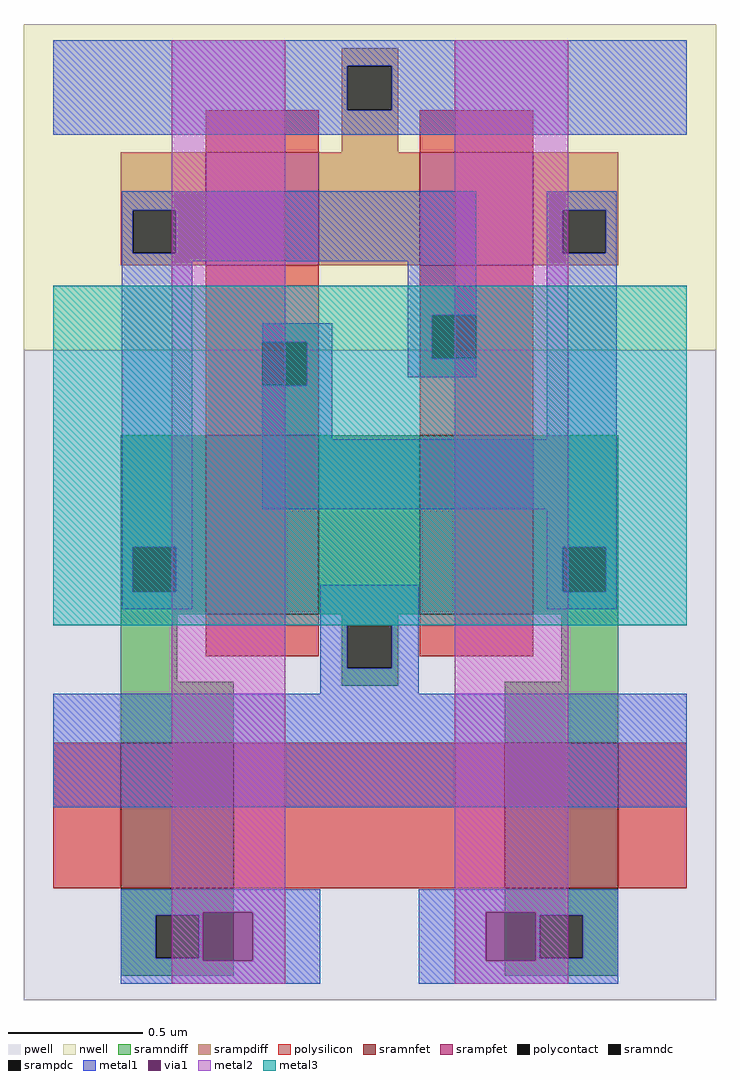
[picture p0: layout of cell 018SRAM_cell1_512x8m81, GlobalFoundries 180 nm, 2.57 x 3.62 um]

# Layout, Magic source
magic
tech gf180mcuD
magscale 1 10
<< nwell >>
rect -47 435 467 677
<< pwell >>
rect -47 -47 467 435
<< sramnfet >>
rect 88 239 172 372
rect 247 239 331 372
rect 25 36 109 144
rect 310 36 394 144
<< srampfet >>
rect 88 498 172 582
rect 247 498 331 582
<< sramndiff >>
rect 25 289 88 372
rect 25 256 34 289
rect 66 256 88 289
rect 25 239 88 256
rect 172 239 247 372
rect 331 289 394 372
rect 331 256 353 289
rect 385 256 394 289
rect 331 239 394 256
rect 25 189 67 239
rect 189 231 231 239
rect 189 199 193 231
rect 226 199 231 231
rect 25 144 109 189
rect 189 186 231 199
rect 352 189 394 239
rect 310 144 394 189
rect 25 16 109 36
rect 25 -16 51 16
rect 83 -16 109 16
rect 25 -29 109 -16
rect 310 16 394 36
rect 310 -16 336 16
rect 368 -16 394 16
rect 310 -29 394 -16
<< srampdiff >>
rect 189 646 231 659
rect 189 613 193 646
rect 226 613 231 646
rect 189 582 231 613
rect 25 539 88 582
rect 25 507 34 539
rect 66 507 88 539
rect 25 498 88 507
rect 172 498 247 582
rect 331 539 394 582
rect 331 507 353 539
rect 385 507 394 539
rect 331 498 394 507
<< sramndc >>
rect 34 256 66 289
rect 353 256 385 289
rect 193 199 226 231
rect 51 -16 83 16
rect 336 -16 368 16
<< srampdc >>
rect 193 613 226 646
rect 34 507 66 539
rect 353 507 385 539
<< polysilicon >>
rect 88 582 172 613
rect 247 582 331 613
rect 88 441 172 498
rect 88 409 130 441
rect 163 409 172 441
rect 88 372 172 409
rect 247 461 331 498
rect 247 429 256 461
rect 289 429 331 461
rect 247 372 331 429
rect 88 208 172 239
rect 247 208 331 239
rect -25 36 25 144
rect 109 36 310 144
rect 394 36 445 144
<< polycontact >>
rect 130 409 163 441
rect 256 429 289 461
<< metal1 >>
rect -25 646 445 665
rect -25 613 193 646
rect 226 613 445 646
rect -25 595 445 613
rect 26 539 289 553
rect 26 507 34 539
rect 66 507 289 539
rect 26 501 289 507
rect 26 289 78 501
rect 238 461 289 501
rect 130 441 182 455
rect 163 409 182 441
rect 238 429 256 461
rect 238 415 289 429
rect 341 539 393 553
rect 341 507 353 539
rect 385 507 393 539
rect 130 369 182 409
rect 341 369 393 507
rect 130 317 393 369
rect 26 256 34 289
rect 66 256 78 289
rect 341 289 393 317
rect 26 243 78 256
rect 173 231 246 261
rect 341 256 353 289
rect 385 256 393 289
rect 341 243 393 256
rect 173 199 193 231
rect 226 199 246 231
rect 173 180 246 199
rect -25 96 445 180
rect 25 18 173 35
rect 25 16 86 18
rect 25 -16 51 16
rect 83 -16 86 16
rect 25 -18 86 -16
rect 123 -18 173 18
rect 25 -35 173 -18
rect 246 18 394 35
rect 246 -18 296 18
rect 333 16 394 18
rect 333 -16 336 16
rect 368 -16 394 16
rect 333 -18 394 -16
rect 246 -35 394 -18
<< via1 >>
rect 86 -18 123 18
rect 296 -18 333 18
<< metal2 >>
rect 63 18 147 665
rect 63 -18 86 18
rect 123 -18 147 18
rect 63 -35 147 -18
rect 273 18 357 665
rect 273 -18 296 18
rect 333 -18 357 18
rect 273 -35 357 -18
<< metal3 >>
rect -25 231 445 483
<< properties >>
string FIXED_BBOX -47 -47 467 677
<< end >>
